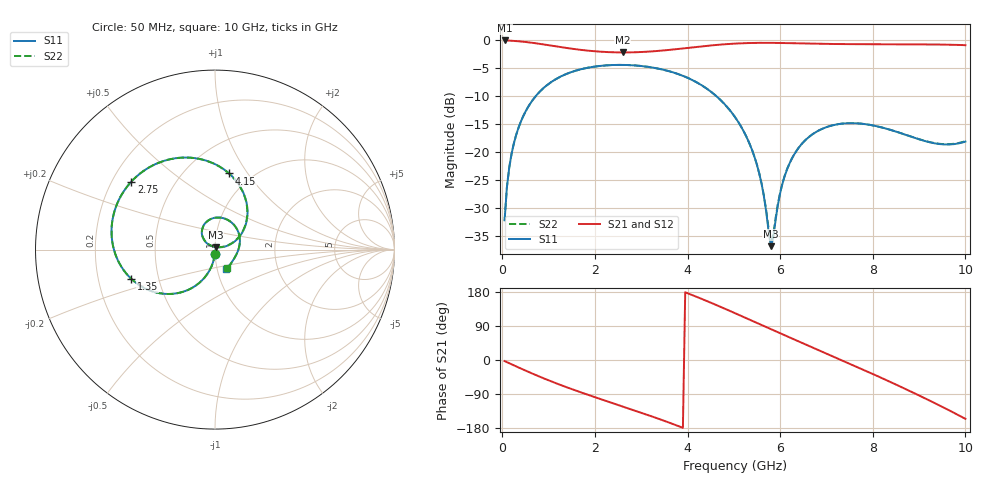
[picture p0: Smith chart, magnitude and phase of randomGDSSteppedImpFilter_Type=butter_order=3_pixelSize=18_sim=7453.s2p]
! freq	dB(S11)	phase(S11)	dB(S12)	phase(S12)
!  dB(S21)	phase(S21)	dB(S22)	phase(S22)
!S-par simulation data
#  GHz  S  DB  R 50
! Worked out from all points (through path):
!   200 points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, 50 MHz to 10 GHz, reference 50 ohm
!   highest |S21| = -0.01 dB at 50 MHz (marker M1); lowest = -2.2 dB at 2.6 GHz (marker M2)
!   group delay of S21, straight-line fit = 140 ps
!   lowest |S11| = -36.9 dB at 5.8 GHz (marker M3), VSWR 1.03, Z = 50.4 + j1.38 ohm
!   |S11| at or under -10 dB: start of sweep to 721.9 MHz; 4.623 GHz to end of sweep
!   |S22| runs from -36.0 to -4.4 dB; largest |S21 - S12| = 0
!   S11 on the Smith chart (normalised r, x): 50 MHz: 1.00, -0.05; 1.35 GHz: 0.35, -0.15; 2.75 GHz: 0.28, +0.33; 4.15 GHz: 0.79, +0.82; 10 GHz: 1.11, -0.24
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0.05  -32.26 -92.9  -0.01 -2.9  -0.01 -2.9  -32.26 -92.9
0.15  -22.79 -98.9  -0.04 -8.5  -0.04 -8.5  -22.79 -98.9
0.4  -14.57 -113.0  -0.19 -22.4  -0.19 -22.4  -14.56 -113.0
0.85  -8.85 -136.7  -0.67 -46.2  -0.67 -46.2  -8.86 -136.7
1.35  -6.13 -160.7  -1.31 -70.1  -1.31 -70.1  -6.13 -160.6
1.75  -5.07 -178.2  -1.74 -87.6  -1.74 -87.6  -5.07 -178.1
2.6  -4.39 146.9  -2.16 -122.6  -2.16 -122.6  -4.39 147.0
2.75  -4.43 140.8  -2.15 -128.7  -2.15 -128.7  -4.43 140.9
3.4  -5.11 113.6  -1.86 -156.2  -1.86 -156.2  -5.11 113.7
4.15  -7.30 79.5  -1.21 169.0  -1.21 169.0  -7.30 79.6
5.05  -14.05 35.3  -0.56 122.2  -0.56 122.2  -14.04 35.8
5.5  -22.35 17.5  -0.44 97.8  -0.44 97.8  -22.32 18.8
5.65  -28.00 19.4  -0.43 89.6  -0.43 89.6  -27.87 21.7
5.8  -36.90 72.7  -0.44 81.4  -0.44 81.4  -35.96 73.6
6  -27.39 141.1  -0.46 70.6  -0.46 70.6  -27.27 139.1
6.15  -23.11 140.7  -0.48 62.5  -0.48 62.5  -23.06 139.4
6.7  -16.83 117.7  -0.58 33.1  -0.58 33.1  -16.82 117.2
7.5  -14.84 77.2  -0.67 -9.6  -0.67 -9.6  -14.84 77.1
8.35  -15.96 33.0  -0.68 -56.3  -0.68 -56.3  -15.96 33.2
9.15  -18.10 -8.9  -0.70 -102.4  -0.70 -102.4  -18.07 -7.7
9.55  -18.66 -31.0  -0.75 -126.7  -0.75 -126.7  -18.61 -29.1
10  -18.14 -59.9  -0.85 -155.4  -0.85 -155.4  -18.07 -57.5
